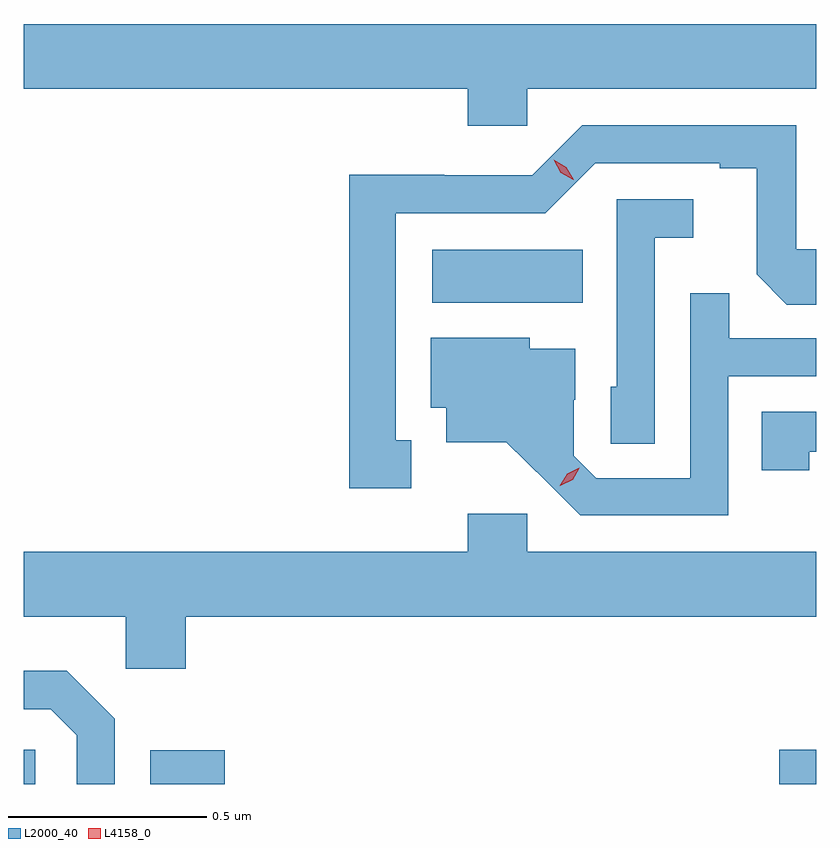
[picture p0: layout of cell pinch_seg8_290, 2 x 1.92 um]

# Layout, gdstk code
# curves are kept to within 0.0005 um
import gdstk
lib = gdstk.Library(unit=1e-6, precision=1e-09)
def R(c, l, rs):  # rectangles x0, y0, x1, y1
    for r in rs: c.add(gdstk.rectangle(r[:2], r[2:], *l))
def P(c, l, *ps):  # polygons
    for p in ps: c.add(gdstk.Polygon(p, *l))
L2000_40 = (2000, 40)
L4158_0 = (4158, 0)

pinch_seg8_290 = lib.new_cell('pinch_seg8_290')
R(pinch_seg8_290, L2000_40, [(526.399,1148.046,526.428,1148.133), (526.718,1148.046,526.906,1148.131), (528.306,1148.046,528.399,1148.133), (527.43,1149.26,527.81,1149.394)])
P(pinch_seg8_290, L2000_40, [(527.67,1149.8),(528.399,1149.8),(528.399,1149.964),(526.399,1149.964),(526.399,1149.8),(527.519,1149.8),(527.519,1149.707),(527.67,1149.707)],
  [(527.377,1148.913),(527.338,1148.913),(527.338,1149.486),(527.715,1149.486),(527.841,1149.612),(528.155,1149.612),(528.155,1149.6),(528.249,1149.6),(528.249,1149.332),(528.325,1149.256),(528.399,1149.256),(528.399,1149.396),(528.348,1149.396),(528.348,1149.708),(527.808,1149.708),(527.682,1149.582),(527.46,1149.582),(527.46,1149.584),(527.22,1149.584),(527.22,1148.793),(527.377,1148.793)],
  [(527.991,1149.425),(528.088,1149.425),(528.088,1149.522),(527.895,1149.522),(527.895,1149.048),(527.88,1149.048),(527.88,1148.905),(527.991,1148.905)],
  [(528.177,1149.075),(528.399,1149.075),(528.399,1149.171),(528.179,1149.171),(528.179,1149.284),(528.081,1149.284),(528.081,1148.817),(527.844,1148.817),(527.787,1148.874),(527.787,1149.016),(527.791,1149.016),(527.791,1149.145),(527.676,1149.145),(527.676,1149.172),(527.426,1149.172),(527.426,1148.996),(527.465,1148.996),(527.465,1148.909),(527.617,1148.909),(527.804,1148.724),(528.177,1148.724)],
  [(528.381,1148.884),(528.399,1148.884),(528.399,1148.985),(528.262,1148.985),(528.262,1148.838),(528.381,1148.838)],
  [(526.808,1148.468),(528.399,1148.468),(528.399,1148.632),(527.67,1148.632),(527.67,1148.728),(527.519,1148.728),(527.519,1148.632),(526.399,1148.632),(526.399,1148.468),(526.656,1148.468),(526.656,1148.337),(526.808,1148.337)],
  [(526.629,1148.211),(526.508,1148.332),(526.399,1148.332),(526.399,1148.235),(526.467,1148.235),(526.533,1148.169),(526.533,1148.046),(526.629,1148.046)])
P(pinch_seg8_290, L4158_0, [(527.752,1148.799),(527.752,1148.799),(527.77,1148.829),(527.801,1148.844),(527.801,1148.844),(527.801,1148.843),(527.784,1148.814),(527.753,1148.799)],
  [(527.786,1149.571),(527.754,1149.589),(527.736,1149.621),(527.736,1149.622),(527.736,1149.622),(527.768,1149.603),(527.787,1149.571),(527.787,1149.571)])

lib.write_gds('pinch_seg8_290.gds')
